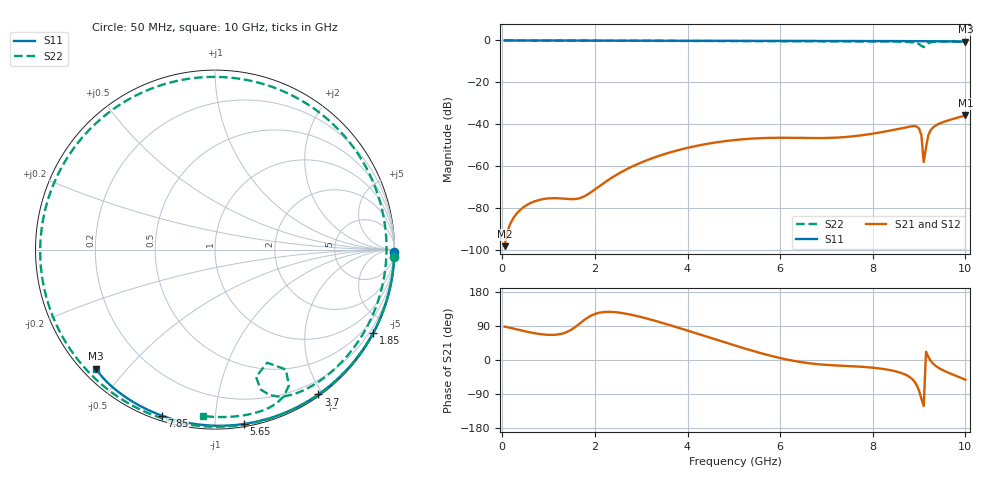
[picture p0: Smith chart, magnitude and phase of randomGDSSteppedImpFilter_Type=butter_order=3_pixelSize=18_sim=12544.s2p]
! freq	dB(S11)	phase(S11)	dB(S12)	phase(S12)
!  dB(S21)	phase(S21)	dB(S22)	phase(S22)
!S-par simulation data
#  GHz  S  DB  R 50
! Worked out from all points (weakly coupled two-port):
!   200 points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, 50 MHz to 10 GHz, reference 50 ohm
!   highest |S21| = -35.85 dB at 10 GHz (marker M1); lowest = -98.3 dB at 50 MHz (marker M2)
!   lowest |S11| = -0.6 dB at 10 GHz (marker M3), VSWR 30.62, Z = 1.91 - j20.7 ohm
!   |S11| at or under -10 dB: nowhere
!   |S22| runs from -3.2 to 0.0 dB; largest |S21 - S12| = 0
!   S11 on the Smith chart (normalised r, x): 50 MHz: open; 1.85 GHz: 0.04, -4.03; 3.7 GHz: 0.02, -1.94; 5.65 GHz: 0.02, -1.18; 7.85 GHz: 0.02, -0.73; 10 GHz: 0.04, -0.41
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0.05  -0.00 -0.8  -98.31 88.3  -98.31 88.3  -0.01 -2.4
0.45  -0.01 -6.9  -79.82 76.7  -79.82 76.7  -0.02 -21.1
0.8  -0.01 -12.2  -76.20 68.7  -76.20 68.7  -0.04 -37.4
1.75  -0.03 -26.4  -74.70 103.7  -74.70 103.7  -0.10 -81.1
1.85  -0.04 -27.9  -73.49 112.4  -73.49 112.4  -0.11 -85.6
2.6  -0.05 -38.9  -62.54 123.6  -62.54 123.6  -0.15 -120.0
3.4  -0.07 -50.3  -55.02 99.9  -55.02 99.9  -0.20 -157.6
3.7  -0.07 -54.5  -53.01 89.0  -53.01 89.0  -0.22 -172.2
4.35  -0.09 -63.4  -49.70 64.1  -49.70 64.1  -0.26 155.0
5.05  -0.11 -72.8  -47.51 37.2  -47.51 37.2  -0.31 117.6
5.65  -0.13 -80.6  -46.63 15.8  -46.63 15.8  -0.34 84.5
6.15  -0.15 -87.0  -46.50 1.1  -46.50 1.1  -0.35 57.3
6.7  -0.18 -93.8  -46.64 -9.7  -46.64 -9.7  -0.37 28.6
7.25  -0.21 -100.6  -46.39 -14.7  -46.39 -14.7  -0.39 2.1
7.85  -0.25 -107.8  -45.05 -18.7  -45.05 -18.7  -0.44 -24.1
8.35  -0.29 -113.8  -43.17 -26.2  -43.17 -26.2  -0.52 -44.1
9  -0.35 -121.5  -42.11 -81.0  -42.11 -81.0  -1.73 -71.9
9.05  -0.35 -122.1  -45.36 -102.1  -45.36 -102.1  -2.56 -72.1
9.1  -0.36 -122.7  -58.10 -121.4  -58.10 -121.4  -3.17 -65.2
9.2  -0.37 -123.9  -45.22 8.2  -45.22 8.2  -1.29 -61.5
9.3  -0.38 -125.1  -41.62 -9.2  -41.62 -9.2  -0.70 -68.1
10  -0.57 -134.9  -35.85 -51.9  -35.85 -51.9  -0.64 -94.2
